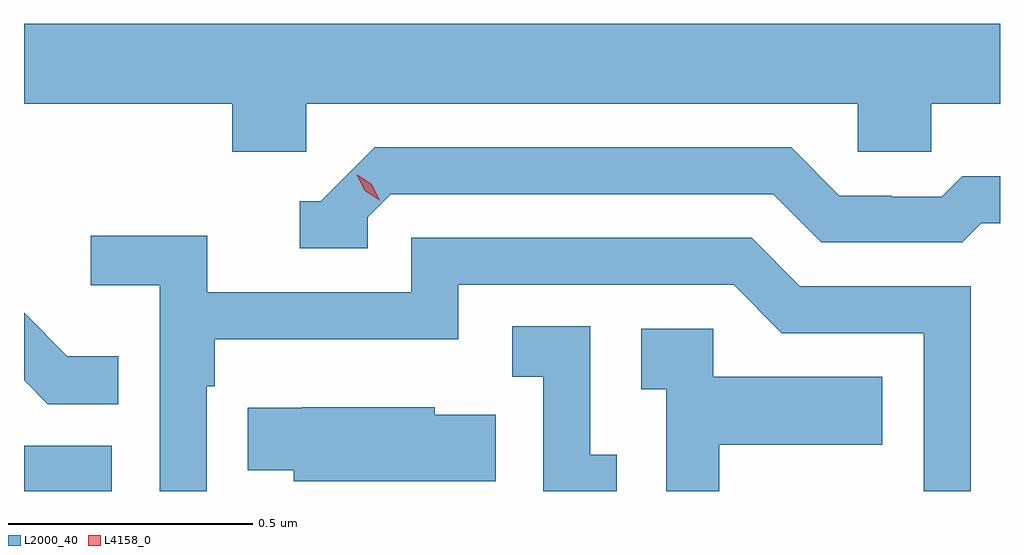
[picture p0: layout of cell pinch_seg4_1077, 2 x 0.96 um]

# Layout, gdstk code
import gdstk
lib = gdstk.Library(unit=1e-6, precision=1e-09)
def R(c, l, rs):  # rectangles x0, y0, x1, y1
    for r in rs: c.add(gdstk.rectangle(r[:2], r[2:], *l))
def P(c, l, *ps):  # polygons
    for p in ps: c.add(gdstk.Polygon(p, *l))
L2000_40 = (2000, 40)
L4158_0 = (4158, 0)

pinch_seg4_1077 = lib.new_cell('pinch_seg4_1077')
R(pinch_seg4_1077, L2000_40, [(890.596,761.394,890.776,761.487)])
P(pinch_seg4_1077, L2000_40, [(891.174,762.188),(892.305,762.188),(892.305,762.09),(892.455,762.09),(892.455,762.188),(892.596,762.188),(892.596,762.352),(890.596,762.352),(890.596,762.188),(891.023,762.188),(891.023,762.09),(891.174,762.09)],
  [(891.3,761.955),(891.348,762.003),(892.131,762.003),(892.23,761.904),(892.519,761.904),(892.558,761.943),(892.596,761.943),(892.596,762.04),(892.519,762.04),(892.477,761.997),(892.374,761.997),(892.374,762),(892.267,762),(892.168,762.099),(891.315,762.099),(891.204,761.988),(891.161,761.988),(891.161,761.892),(891.3,761.892)],
  [(890.97,761.609),(890.987,761.609),(890.987,761.705),(891.486,761.705),(891.486,761.817),(892.05,761.817),(892.149,761.718),(892.44,761.718),(892.44,761.394),(892.536,761.394),(892.536,761.814),(892.186,761.814),(892.087,761.913),(891.39,761.913),(891.39,761.802),(890.972,761.802),(890.972,761.918),(890.733,761.918),(890.733,761.816),(890.874,761.816),(890.874,761.394),(890.97,761.394)],
  [(890.789,761.671),(890.685,761.671),(890.596,761.76),(890.596,761.621),(890.645,761.572),(890.789,761.572)],
  [(891.811,761.469),(891.756,761.469),(891.756,761.732),(891.597,761.732),(891.597,761.629),(891.66,761.629),(891.66,761.394),(891.811,761.394)],
  [(892.021,761.489),(892.355,761.489),(892.355,761.629),(892.008,761.629),(892.008,761.727),(891.861,761.727),(891.861,761.603),(891.912,761.603),(891.912,761.394),(892.021,761.394)],
  [(891.563,761.551),(891.438,761.551),(891.438,761.566),(891.166,761.566),(891.166,761.565),(891.055,761.565),(891.055,761.437),(891.149,761.437),(891.149,761.414),(891.563,761.414)])
P(pinch_seg4_1077, L4158_0, [(891.325,761.99),(891.294,762.01),(891.279,762.042),(891.279,762.043),(891.279,762.043),(891.309,762.023),(891.325,761.99),(891.325,761.99)])

lib.write_gds('pinch_seg4_1077.gds')
